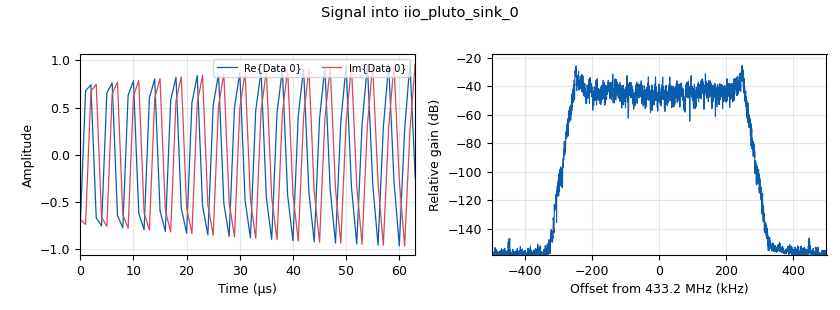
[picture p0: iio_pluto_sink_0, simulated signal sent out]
options:
  parameters:
    generate_options: qt_gui
    id: top_block
    output_language: python
    title: pluto1
  states: {}

blocks:
- name: samp_rate
  id: variable
  parameters:
    value: '1000000'
  states: {}
- name: blocks_stream_to_tagged_stream_0
  id: blocks_stream_to_tagged_stream
  parameters:
    len_tag_key: '18'
    packet_len: '48'
    type: byte
  states: {}
- name: blocks_throttle2_0
  id: blocks_throttle2
  parameters:
    samples_per_second: '100000'
    type: byte
  states: {state: disabled}
- name: blocks_unpack_k_bits_bb_0
  id: blocks_unpack_k_bits_bb
  parameters:
    k: '8'
  states: {state: disabled}
- name: blocks_vector_source_x_0_0
  id: blocks_vector_source_x
  parameters:
    repeat: 'True'
    type: byte
    vector: (1,212,211,127,78,98)
  states: {}
- name: digital_gfsk_demod_0_0_0
  id: digital_gfsk_demod
  parameters:
    freq_error: '0.0'
    gain_mu: '0.175'
    mu: '0.5'
    omega_relative_limit: '0.005'
    samples_per_symbol: '47'
    sensitivity: '1.5628'
  states: {}
- name: digital_gfsk_mod_0_0
  id: digital_gfsk_mod
  parameters:
    bt: '0.35'
    samples_per_symbol: '47'
    sensitivity: '1.5628'
  states: {}
- name: iio_pluto_sink_0
  id: iio_pluto_sink
  parameters:
    attenuation1: '-10'
    bandwidth: '1000000'
    buffer_size: '32768'
    cyclic: 'False'
    filter_source: '''Auto'''
    frequency: '433200000'
    samplerate: samp_rate
    type: fc32
    uri: 192.168.2.1
  states: {}
- name: iio_pluto_source_0
  id: iio_pluto_source
  parameters:
    bandwidth: '1000000'
    bbdc: 'True'
    buffer_size: '32768'
    filter_source: '''Auto'''
    frequency: '433200000'
    gain1: '''manual'''
    manual_gain1: '40'
    quadrature: 'True'
    rfdc: 'True'
    samplerate: samp_rate
    type: fc32
    uri: 192.168.2.1
  states: {}
- name: pdu_tagged_stream_to_pdu_0
  id: pdu_tagged_stream_to_pdu
  parameters:
    tag: '18'
    type: byte
  states: {}
- name: zeromq_pub_msg_sink_0
  id: zeromq_pub_msg_sink
  parameters:
    address: tcp://127.0.0.1:5555
    timeout: '100'
  states: {}

connections:
- [blocks_stream_to_tagged_stream_0, '0', pdu_tagged_stream_to_pdu_0, '0']
- [blocks_unpack_k_bits_bb_0, '0', blocks_throttle2_0, '0']
- [blocks_vector_source_x_0_0, '0', blocks_unpack_k_bits_bb_0, '0']
- [blocks_vector_source_x_0_0, '0', digital_gfsk_mod_0_0, '0']
- [digital_gfsk_demod_0_0_0, '0', blocks_stream_to_tagged_stream_0, '0']
- [digital_gfsk_mod_0_0, '0', iio_pluto_sink_0, '0']
- [iio_pluto_source_0, '0', digital_gfsk_demod_0_0_0, '0']
- [pdu_tagged_stream_to_pdu_0, pdus, zeromq_pub_msg_sink_0, in]

metadata:
  file_format: 1
  grc_version: 3.10.12.0
